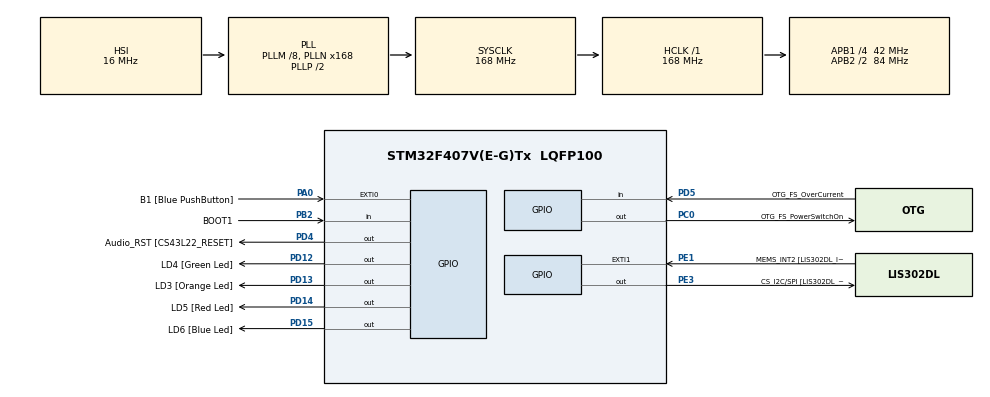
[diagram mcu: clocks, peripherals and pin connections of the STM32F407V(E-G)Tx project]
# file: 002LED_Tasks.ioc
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Mcu.Family=STM32F4
Mcu.Name=STM32F407V(E-G)Tx
Mcu.Package=LQFP100
NVIC.PriorityGroup=NVIC_PRIORITYGROUP_4
NVIC.TIM5_IRQn=true\:0\:0\:false\:false\:true\:false\:true\:true
NVIC.TimeBase=TIM5_IRQn
NVIC.TimeBaseIP=TIM5
PA0-WKUP.GPIO_Label=B1 [Blue PushButton]
PA0-WKUP.Signal=GPXTI0
PA10.GPIO_Label=OTG_FS_ID
PA10.GPIO_Mode=GPIO_MODE_AF_PP
PA10.GPIO_PuPd=GPIO_NOPULL
PA10.GPIO_Speed=GPIO_SPEED_FREQ_LOW
PA10.Signal=USB_OTG_FS_ID
PA11.GPIO_Label=OTG_FS_DM
PA11.GPIO_Mode=GPIO_MODE_AF_PP
PA11.GPIO_PuPd=GPIO_NOPULL
PA11.GPIO_Speed=GPIO_SPEED_FREQ_LOW
PA11.Signal=USB_OTG_FS_DM
PA12.GPIO_Label=OTG_FS_DP
PA12.GPIO_Mode=GPIO_MODE_AF_PP
PA12.GPIO_PuPd=GPIO_NOPULL
PA12.GPIO_Speed=GPIO_SPEED_FREQ_LOW
PA12.Signal=USB_OTG_FS_DP
PA13.GPIO_Label=SWDIO
PA13.Signal=SYS_JTMS-SWDIO
PA14.GPIO_Label=SWCLK
PA14.Signal=SYS_JTCK-SWCLK
PA4.GPIO_Label=I2S3_WS [CS43L22_LRCK]
PA4.GPIO_Mode=GPIO_MODE_AF_PP
PA4.GPIO_PuPd=GPIO_NOPULL
PA4.GPIO_Speed=GPIO_SPEED_FREQ_LOW
PA4.Signal=I2S3_WS
PA5.GPIO_Label=SPI1_SCK [LIS302DL_SCL/SPC]
PA5.GPIO_Mode=GPIO_MODE_AF_PP
PA5.GPIO_PuPd=GPIO_NOPULL
PA5.GPIO_Speed=GPIO_SPEED_FREQ_LOW
PA5.Signal=SPI1_SCK
PA6.GPIO_Label=SPI1_MISO [LIS302DL_SDO]
PA6.GPIO_Mode=GPIO_MODE_AF_PP
PA6.GPIO_PuPd=GPIO_NOPULL
PA6.GPIO_Speed=GPIO_SPEED_FREQ_LOW
PA6.Signal=SPI1_MISO
PA7.GPIO_Label=SPI1_MOSI [LIS302DL_SDA/SDI/SDO]
PA7.GPIO_Mode=GPIO_MODE_AF_PP
PA7.GPIO_PuPd=GPIO_NOPULL
PA7.GPIO_Speed=GPIO_SPEED_FREQ_LOW
PA7.Signal=SPI1_MOSI
PA9.GPIO_Label=VBUS_FS
PA9.GPIO_Mode=GPIO_MODE_INPUT
PA9.GPIO_PuPd=GPIO_NOPULL
PA9.Signal=USB_OTG_FS_VBUS
PB10.GPIO_Label=CLK_IN [MP45DT02_CLK]
PB10.GPIO_Mode=GPIO_MODE_AF_PP
PB10.GPIO_PuPd=GPIO_NOPULL
PB10.GPIO_Speed=GPIO_SPEED_FREQ_LOW
PB10.Signal=I2S2_CK
PB2.GPIO_Label=BOOT1
PB2.GPIO_Mode=GPIO_MODE_INPUT
PB2.GPIO_PuPd=GPIO_NOPULL
PB2.Signal=GPIO_Input
PB3.GPIO_Label=SWO
PB3.Signal=SYS_JTDO-SWO
PB6.GPIO_Label=Audio_SCL [CS43L22_SCL]
PB6.GPIO_Mode=GPIO_MODE_AF_OD
PB6.GPIO_PuPd=GPIO_NOPULL
PB6.GPIO_Speed=GPIO_SPEED_FREQ_LOW
PB6.Signal=I2C1_SCL
PB9.GPIO_Label=Audio_SDA [CS43L22_SDA]
PB9.GPIO_Mode=GPIO_MODE_AF_OD
PB9.GPIO_PuPd=GPIO_NOPULL
PB9.GPIO_Speed=GPIO_SPEED_FREQ_LOW
PB9.Signal=I2C1_SDA
PC0.GPIO_Label=OTG_FS_PowerSwitchOn
PC0.GPIO_PuPd=GPIO_NOPULL
PC0.GPIO_Speed=GPIO_SPEED_FREQ_LOW
PC0.PinState=GPIO_PIN_SET
PC0.Signal=GPIO_Output
PC10.GPIO_Label=I2S3_SCK [CS43L22_SCLK]
PC10.GPIO_Mode=GPIO_MODE_AF_PP
PC10.GPIO_PuPd=GPIO_NOPULL
PC10.GPIO_Speed=GPIO_SPEED_FREQ_LOW
PC10.Signal=I2S3_CK
PC12.GPIO_Label=I2S3_SD [CS43L22_SDIN]
PC12.GPIO_Mode=GPIO_MODE_AF_PP
PC12.GPIO_PuPd=GPIO_NOPULL
PC12.GPIO_Speed=GPIO_SPEED_FREQ_LOW
PC12.Signal=I2S3_SD
PC14-OSC32_IN.GPIO_Label=PC14-OSC32_IN
PC14-OSC32_IN.Signal=RCC_OSC32_IN
PC15-OSC32_OUT.GPIO_Label=PC15-OSC32_OUT
PC15-OSC32_OUT.Signal=RCC_OSC32_OUT
PC3.GPIO_Label=PDM_OUT [MP45DT02_DOUT]
PC3.GPIO_Mode=GPIO_MODE_AF_PP
PC3.GPIO_PuPd=GPIO_NOPULL
PC3.GPIO_Speed=GPIO_SPEED_FREQ_LOW
PC3.Signal=I2S2_SD
PC7.GPIO_Label=I2S3_MCK [CS43L22_MCLK]
PC7.GPIO_Mode=GPIO_MODE_AF_PP
PC7.GPIO_PuPd=GPIO_NOPULL
PC7.GPIO_Speed=GPIO_SPEED_FREQ_LOW
PC7.Signal=I2S3_MCK
PD12.GPIO_Label=LD4 [Green Led]
PD12.GPIO_PuPd=GPIO_NOPULL
PD12.GPIO_Speed=GPIO_SPEED_FREQ_LOW
PD12.Signal=GPIO_Output
PD13.GPIO_Label=LD3 [Orange Led]
PD13.GPIO_PuPd=GPIO_NOPULL
PD13.GPIO_Speed=GPIO_SPEED_FREQ_LOW
PD13.Signal=GPIO_Output
PD14.GPIO_Label=LD5 [Red Led]
PD14.GPIO_PuPd=GPIO_NOPULL
PD14.GPIO_Speed=GPIO_SPEED_FREQ_LOW
PD14.Signal=GPIO_Output
PD15.GPIO_Label=LD6 [Blue Led]
PD15.GPIO_PuPd=GPIO_NOPULL
PD15.GPIO_Speed=GPIO_SPEED_FREQ_LOW
PD15.Signal=GPIO_Output
PD4.GPIO_Label=Audio_RST [CS43L22_RESET]
PD4.GPIO_PuPd=GPIO_NOPULL
PD4.GPIO_Speed=GPIO_SPEED_FREQ_LOW
PD4.Signal=GPIO_Output
PD5.GPIO_Label=OTG_FS_OverCurrent
PD5.GPIO_Mode=GPIO_MODE_INPUT
PD5.GPIO_PuPd=GPIO_NOPULL
PD5.Signal=GPIO_Input
PE1.GPIO_Label=MEMS_INT2 [LIS302DL_INT2]
PE1.GPIO_ModeDefaultEXTI=GPIO_MODE_EVT_RISING
PE1.GPIO_PuPd=GPIO_NOPULL
PE1.Signal=GPXTI1
PE3.GPIO_Label=CS_I2C/SPI [LIS302DL_CS_I2C/SPI]
PE3.GPIO_PuPd=GPIO_NOPULL
PE3.GPIO_Speed=GPIO_SPEED_FREQ_LOW
PE3.Signal=GPIO_Output
PH0-OSC_IN.GPIO_Label=PH0-OSC_IN
PH0-OSC_IN.Signal=RCC_OSC_IN
PH1-OSC_OUT.GPIO_Label=PH1-OSC_OUT
PH1-OSC_OUT.Signal=RCC_OSC_OUT
ProjectManager.HeapSize=0x200
ProjectManager.StackSize=0x400
ProjectManager.TargetToolchain=STM32CubeIDE
RCC.48MHZClocksFreq_Value=48000000
RCC.AHBFreq_Value=168000000
RCC.APB1CLKDivider=RCC_HCLK_DIV4
RCC.APB1Freq_Value=42000000
RCC.APB1TimFreq_Value=84000000
RCC.APB2CLKDivider=RCC_HCLK_DIV2
RCC.APB2Freq_Value=84000000
RCC.APB2TimFreq_Value=168000000
RCC.CortexFreq_Value=168000000
RCC.HCLKFreq_Value=168000000
RCC.HSE_VALUE=8000000
RCC.HSI_VALUE=16000000
RCC.LSE_VALUE=32768
RCC.PLLM=8
RCC.PLLN=168
RCC.PLLQ=7
RCC.SYSCLKFreq_VALUE=168000000
RCC.SYSCLKSource=RCC_SYSCLKSOURCE_PLLCLK
RCC.VCOOutputFreq_Value=336000000
VP_SYS_VS_tim5.Mode=TIM5
board=STM32F407G-DISC1

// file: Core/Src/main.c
/* USER CODE BEGIN Header */
/**
  ******************************************************************************
  * @file           : main.c
  * @brief          : Main program body
  ******************************************************************************
  * @attention
  *
  * Copyright (c) 2025 STMicroelectronics.
  * All rights reserved.
  *
  * This software is licensed under terms that can be found in the LICENSE file
  * in the root directory of this software component.
  * If no LICENSE file comes with this software, it is provided AS-IS.
  *
  ******************************************************************************
  */
/* USER CODE END Header */
#include "main.h"

/* USER CODE BEGIN Includes */
#include "FreeRTOS.h"
#include "task.h"
/* USER CODE END Includes */

/* USER CODE BEGIN PV */

#define DWT_CTRL 			(*(volatile uint32_t*)0xE0001000)

/* USER CODE END PV */

void SystemClock_Config(void);
static void MX_GPIO_Init(void);
/* USER CODE BEGIN PFP */
static void led_green_handler(void* parameters);
static void led_red_handler(void* parameters);
static void led_orange_handler(void* parameters);

extern void SEGGER_UART_init(uint32_t);
/* USER CODE END PFP */

int main(void)
{

  /* USER CODE BEGIN 1 */
	TaskHandle_t task1_handle;
	TaskHandle_t task2_handle;
	TaskHandle_t task3_handle;

	BaseType_t status;
  /* USER CODE END 1 */

  /* MCU Configuration--------------------------------------------------------*/

  /* Reset of all peripherals, Initializes the Flash interface and the Systick. */
  HAL_Init();

  /* Configure the system clock */
  SystemClock_Config();

  /* Initialize all configured peripherals */
  MX_GPIO_Init();
  /* USER CODE BEGIN 2 */

  SEGGER_UART_init(500000); //for uart communucation

  //CYCLCNT enable
  DWT_CTRL |= (1 << 0);

  SEGGER_SYSVIEW_Conf(); //for uart communucation

  status = xTaskCreate(led_green_handler, "LED_green_task", 200, NULL, 2, &task1_handle);

  configASSERT(status == pdPASS);

  status = xTaskCreate(led_red_handler, "LED_red_task", 200, NULL, 2, &task2_handle);

  configASSERT(status == pdPASS);

  status = xTaskCreate(led_orange_handler, "LED_orange_task", 200, NULL, 2, &task3_handle);

  configASSERT(status == pdPASS);

  //start the freeRTOS scheduler
  vTaskStartScheduler();

  /* USER CODE END 2 */

  /* Infinite loop */
  while (1)
  {

  }
}

void SystemClock_Config(void)
{
  RCC_OscInitTypeDef RCC_OscInitStruct = {0};
  RCC_ClkInitTypeDef RCC_ClkInitStruct = {0};

  /** Configure the main internal regulator output voltage
  */
  __HAL_RCC_PWR_CLK_ENABLE();
  __HAL_PWR_VOLTAGESCALING_CONFIG(PWR_REGULATOR_VOLTAGE_SCALE1);

  /** Initializes the RCC Oscillators according to the specified parameters
  * in the RCC_OscInitTypeDef structure.
  */
  RCC_OscInitStruct.OscillatorType = RCC_OSCILLATORTYPE_HSI;
  RCC_OscInitStruct.HSIState = RCC_HSI_ON;
  RCC_OscInitStruct.HSICalibrationValue = RCC_HSICALIBRATION_DEFAULT;
  RCC_OscInitStruct.PLL.PLLState = RCC_PLL_ON;
  RCC_OscInitStruct.PLL.PLLSource = RCC_PLLSOURCE_HSI;
  RCC_OscInitStruct.PLL.PLLM = 8;
  RCC_OscInitStruct.PLL.PLLN = 168;
  RCC_OscInitStruct.PLL.PLLP = RCC_PLLP_DIV2;
  RCC_OscInitStruct.PLL.PLLQ = 7;
  if (HAL_RCC_OscConfig(&RCC_OscInitStruct) != HAL_OK)
  {
    Error_Handler();
  }

  /** Initializes the CPU, AHB and APB buses clocks
  */
  RCC_ClkInitStruct.ClockType = RCC_CLOCKTYPE_HCLK|RCC_CLOCKTYPE_SYSCLK
                              |RCC_CLOCKTYPE_PCLK1|RCC_CLOCKTYPE_PCLK2;
  RCC_ClkInitStruct.SYSCLKSource = RCC_SYSCLKSOURCE_PLLCLK;
  RCC_ClkInitStruct.AHBCLKDivider = RCC_SYSCLK_DIV1;
  RCC_ClkInitStruct.APB1CLKDivider = RCC_HCLK_DIV4;
  RCC_ClkInitStruct.APB2CLKDivider = RCC_HCLK_DIV2;

  if (HAL_RCC_ClockConfig(&RCC_ClkInitStruct, FLASH_LATENCY_5) != HAL_OK)
  {
    Error_Handler();
  }
}

static void MX_GPIO_Init(void)
{
  GPIO_InitTypeDef GPIO_InitStruct = {0};

  /* GPIO Ports Clock Enable */
  __HAL_RCC_GPIOE_CLK_ENABLE();
  __HAL_RCC_GPIOC_CLK_ENABLE();
  __HAL_RCC_GPIOH_CLK_ENABLE();
  __HAL_RCC_GPIOA_CLK_ENABLE();
  __HAL_RCC_GPIOB_CLK_ENABLE();
  __HAL_RCC_GPIOD_CLK_ENABLE();

  /*Configure GPIO pin Output Level */
  HAL_GPIO_WritePin(CS_I2C_SPI_GPIO_Port, CS_I2C_SPI_Pin, GPIO_PIN_RESET);

  /*Configure GPIO pin Output Level */
  HAL_GPIO_WritePin(OTG_FS_PowerSwitchOn_GPIO_Port, OTG_FS_PowerSwitchOn_Pin, GPIO_PIN_SET);

  /*Configure GPIO pin Output Level */
  HAL_GPIO_WritePin(GPIOD, LD4_Pin|LD3_Pin|LD5_Pin|LD6_Pin
                          |Audio_RST_Pin, GPIO_PIN_RESET);

  /*Configure GPIO pin : CS_I2C_SPI_Pin */
  GPIO_InitStruct.Pin = CS_I2C_SPI_Pin;
  GPIO_InitStruct.Mode = GPIO_MODE_OUTPUT_PP;
  GPIO_InitStruct.Pull = GPIO_NOPULL;
  GPIO_InitStruct.Speed = GPIO_SPEED_FREQ_LOW;
  HAL_GPIO_Init(CS_I2C_SPI_GPIO_Port, &GPIO_InitStruct);

  /*Configure GPIO pin : OTG_FS_PowerSwitchOn_Pin */
  GPIO_InitStruct.Pin = OTG_FS_PowerSwitchOn_Pin;
  GPIO_InitStruct.Mode = GPIO_MODE_OUTPUT_PP;
  GPIO_InitStruct.Pull = GPIO_NOPULL;
  GPIO_InitStruct.Speed = GPIO_SPEED_FREQ_LOW;
  HAL_GPIO_Init(OTG_FS_PowerSwitchOn_GPIO_Port, &GPIO_InitStruct);

  /*Configure GPIO pin : PDM_OUT_Pin */
  GPIO_InitStruct.Pin = PDM_OUT_Pin;
  GPIO_InitStruct.Mode = GPIO_MODE_AF_PP;
  GPIO_InitStruct.Pull = GPIO_NOPULL;
  GPIO_InitStruct.Speed = GPIO_SPEED_FREQ_LOW;
  GPIO_InitStruct.Alternate = GPIO_AF5_SPI2;
  HAL_GPIO_Init(PDM_OUT_GPIO_Port, &GPIO_InitStruct);

  /*Configure GPIO pin : B1_Pin */
  GPIO_InitStruct.Pin = B1_Pin;
  GPIO_InitStruct.Mode = GPIO_MODE_IT_RISING;
  GPIO_InitStruct.Pull = GPIO_NOPULL;
  HAL_GPIO_Init(B1_GPIO_Port, &GPIO_InitStruct);

  /*Configure GPIO pin : I2S3_WS_Pin */
  GPIO_InitStruct.Pin = I2S3_WS_Pin;
  GPIO_InitStruct.Mode = GPIO_MODE_AF_PP;
  GPIO_InitStruct.Pull = GPIO_NOPULL;
  GPIO_InitStruct.Speed = GPIO_SPEED_FREQ_LOW;
  GPIO_InitStruct.Alternate = GPIO_AF6_SPI3;
  HAL_GPIO_Init(I2S3_WS_GPIO_Port, &GPIO_InitStruct);

  /*Configure GPIO pins : SPI1_SCK_Pin SPI1_MISO_Pin SPI1_MOSI_Pin */
  GPIO_InitStruct.Pin = SPI1_SCK_Pin|SPI1_MISO_Pin|SPI1_MOSI_Pin;
  GPIO_InitStruct.Mode = GPIO_MODE_AF_PP;
  GPIO_InitStruct.Pull = GPIO_NOPULL;
  GPIO_InitStruct.Speed = GPIO_SPEED_FREQ_LOW;
  GPIO_InitStruct.Alternate = GPIO_AF5_SPI1;
  HAL_GPIO_Init(GPIOA, &GPIO_InitStruct);

  /*Configure GPIO pin : BOOT1_Pin */
  GPIO_InitStruct.Pin = BOOT1_Pin;
  GPIO_InitStruct.Mode = GPIO_MODE_INPUT;
  GPIO_InitStruct.Pull = GPIO_NOPULL;
  HAL_GPIO_Init(BOOT1_GPIO_Port, &GPIO_InitStruct);

  /*Configure GPIO pin : CLK_IN_Pin */
  GPIO_InitStruct.Pin = CLK_IN_Pin;
  GPIO_InitStruct.Mode = GPIO_MODE_AF_PP;
  GPIO_InitStruct.Pull = GPIO_NOPULL;
  GPIO_InitStruct.Speed = GPIO_SPEED_FREQ_LOW;
  GPIO_InitStruct.Alternate = GPIO_AF5_SPI2;
  HAL_GPIO_Init(CLK_IN_GPIO_Port, &GPIO_InitStruct);

  /*Configure GPIO pins : LD4_Pin LD3_Pin LD5_Pin LD6_Pin
                           Audio_RST_Pin */
  GPIO_InitStruct.Pin = LD4_Pin|LD3_Pin|LD5_Pin|LD6_Pin
                          |Audio_RST_Pin;
  GPIO_InitStruct.Mode = GPIO_MODE_OUTPUT_PP;
  GPIO_InitStruct.Pull = GPIO_NOPULL;
  GPIO_InitStruct.Speed = GPIO_SPEED_FREQ_LOW;
  HAL_GPIO_Init(GPIOD, &GPIO_InitStruct);

  /*Configure GPIO pins : I2S3_MCK_Pin I2S3_SCK_Pin I2S3_SD_Pin */
  GPIO_InitStruct.Pin = I2S3_MCK_Pin|I2S3_SCK_Pin|I2S3_SD_Pin;
  GPIO_InitStruct.Mode = GPIO_MODE_AF_PP;
  GPIO_InitStruct.Pull = GPIO_NOPULL;
  GPIO_InitStruct.Speed = GPIO_SPEED_FREQ_LOW;
  GPIO_InitStruct.Alternate = GPIO_AF6_SPI3;
  HAL_GPIO_Init(GPIOC, &GPIO_InitStruct);

  /*Configure GPIO pin : VBUS_FS_Pin */
  GPIO_InitStruct.Pin = VBUS_FS_Pin;
  GPIO_InitStruct.Mode = GPIO_MODE_INPUT;
  GPIO_InitStruct.Pull = GPIO_NOPULL;
  HAL_GPIO_Init(VBUS_FS_GPIO_Port, &GPIO_InitStruct);

  /*Configure GPIO pins : OTG_FS_ID_Pin OTG_FS_DM_Pin OTG_FS_DP_Pin */
  GPIO_InitStruct.Pin = OTG_FS_ID_Pin|OTG_FS_DM_Pin|OTG_FS_DP_Pin;
  GPIO_InitStruct.Mode = GPIO_MODE_AF_PP;
  GPIO_InitStruct.Pull = GPIO_NOPULL;
  GPIO_InitStruct.Speed = GPIO_SPEED_FREQ_LOW;
  GPIO_InitStruct.Alternate = GPIO_AF10_OTG_FS;
  HAL_GPIO_Init(GPIOA, &GPIO_InitStruct);

  /*Configure GPIO pin : OTG_FS_OverCurrent_Pin */
  GPIO_InitStruct.Pin = OTG_FS_OverCurrent_Pin;
  GPIO_InitStruct.Mode = GPIO_MODE_INPUT;
  GPIO_InitStruct.Pull = GPIO_NOPULL;
  HAL_GPIO_Init(OTG_FS_OverCurrent_GPIO_Port, &GPIO_InitStruct);

  /*Configure GPIO pins : Audio_SCL_Pin Audio_SDA_Pin */
  GPIO_InitStruct.Pin = Audio_SCL_Pin|Audio_SDA_Pin;
  GPIO_InitStruct.Mode = GPIO_MODE_AF_OD;
  GPIO_InitStruct.Pull = GPIO_NOPULL;
  GPIO_InitStruct.Speed = GPIO_SPEED_FREQ_LOW;
  GPIO_InitStruct.Alternate = GPIO_AF4_I2C1;
  HAL_GPIO_Init(GPIOB, &GPIO_InitStruct);

  /*Configure GPIO pin : MEMS_INT2_Pin */
  GPIO_InitStruct.Pin = MEMS_INT2_Pin;
  GPIO_InitStruct.Mode = GPIO_MODE_EVT_RISING;
  GPIO_InitStruct.Pull = GPIO_NOPULL;
  HAL_GPIO_Init(MEMS_INT2_GPIO_Port, &GPIO_InitStruct);

}

/* USER CODE BEGIN 4 */
static void led_green_handler(void* parameters){
	while(1){
		SEGGER_SYSVIEW_PrintfTarget("Toggling green LED");
		HAL_GPIO_TogglePin(GPIOD, LED_GREEN_PIN);
		HAL_Delay(1000); //this is blocking delay
		taskYIELD();
		/*
		 * When I use the word blocking in this context, it means that, it blocks the processor. That means, it keeps the processor engaged for the delay duration.
		 * Non blocking delay's means, they don't engage the CPU for the delay duration. For this exercise, let's just use HAL_DELAY function, which is given by the HAL cube layer,
		 * HAL_DELAY. You just have to mention the amount of delay in milliseconds, let me just write thousands here. As you can see, this is a blocking delay.
		 * If you just explore this HAL_DELAY, you see a while loop here.That's why, it keeps the processor engaged in this while loop, which is not a good idea to use here,
		 * but we will replace this delay with FreeRTOS provided non blocking delays which we'll discuss later.
		 */
	}
}

static void led_red_handler(void* parameters){
	while(1){
		SEGGER_SYSVIEW_PrintfTarget("Toggling red LED");
		HAL_GPIO_TogglePin(GPIOD, LED_RED_PIN);
		HAL_Delay(800);
		taskYIELD();
	}
}

static void led_orange_handler(void* parameters){
	while(1){
		SEGGER_SYSVIEW_PrintfTarget("Toggling orange LED");
		HAL_GPIO_TogglePin(GPIOD, LED_ORANGE_PIN);
		HAL_Delay(400);
		taskYIELD();
	}
}

/* USER CODE END 4 */

void HAL_TIM_PeriodElapsedCallback(TIM_HandleTypeDef *htim)
{
  if (htim->Instance == TIM5)
  {
    HAL_IncTick();
  }
}

void Error_Handler(void)
{
  __disable_irq();
  while (1)
  {
  }
}
